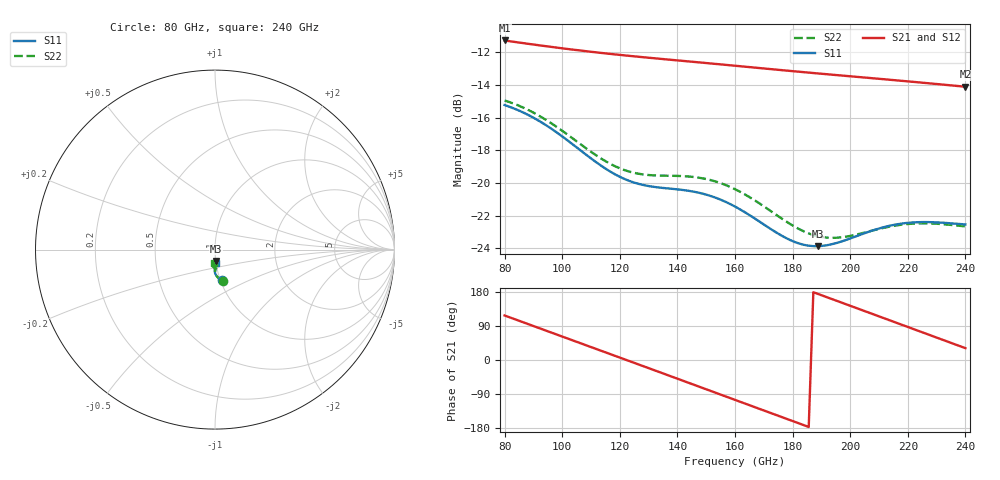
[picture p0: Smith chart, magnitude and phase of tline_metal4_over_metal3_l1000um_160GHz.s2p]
#  GHZ S DB R 50
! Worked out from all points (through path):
!   101 points, 80 GHz to 240 GHz, reference 50 ohm
!   highest |S21| = -11.28 dB at 80 GHz (marker M1); lowest = -14.1 dB at 240 GHz (marker M2)
!   group delay of S21, straight-line fit = 7.75 ps
!   lowest |S11| = -23.9 dB at 188.8 GHz (marker M3), VSWR 1.14, Z = 50.1 - j6.42 ohm
!   |S11| at or under -10 dB: start of sweep to end of sweep
!   |S22| runs from -23.4 to -15.0 dB; largest |S21 - S12| = 4.2e-14
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80  -15.23 -76.9  -11.28 117.5  -11.28 117.5  -14.95 -75.4
86.4  -15.69 -80.8  -11.44 99.7  -11.44 99.7  -15.38 -79.4
92.8  -16.29 -84.8  -11.59 81.9  -11.59 81.9  -15.97 -83.4
99.2  -17.05 -88.1  -11.74 64.1  -11.74 64.1  -16.71 -86.7
107.2  -18.12 -90.6  -11.91 41.9  -11.91 41.9  -17.74 -89.0
113.6  -18.96 -90.8  -12.04 24.1  -12.04 24.1  -18.52 -89.2
120  -19.63 -89.9  -12.16 6.4  -12.16 6.4  -19.11 -88.2
126.4  -20.06 -88.4  -12.27 -11.4  -12.27 -11.4  -19.44 -86.9
134.4  -20.30 -87.6  -12.41 -33.7  -12.41 -33.7  -19.56 -86.4
147.2  -20.59 -89.9  -12.61 -69.4  -12.61 -69.4  -19.68 -89.9
153.6  -20.93 -92.2  -12.72 -87.3  -12.72 -87.3  -19.93 -93.0
160  -21.45 -94.2  -12.82 -105.2  -12.82 -105.2  -20.38 -96.0
166.4  -22.13 -95.1  -12.93 -123.1  -12.93 -123.1  -21.02 -98.2
174.4  -23.05 -93.9  -13.06 -145.4  -13.06 -145.4  -21.97 -99.0
180.8  -23.62 -90.7  -13.17 -163.3  -13.17 -163.3  -22.69 -97.5
187.2  -23.87 -86.4  -13.27 178.8  -13.27 178.8  -23.19 -94.4
188.8  -23.88 -85.4  -13.30 174.4  -13.30 174.4  -23.27 -93.5
195.2  -23.69 -81.8  -13.40 156.5  -13.40 156.5  -23.36 -90.0
203.2  -23.20 -79.8  -13.52 134.2  -13.52 134.2  -23.12 -87.1
214.4  -22.60 -81.0  -13.69 102.9  -13.69 102.9  -22.66 -87.1
227.2  -22.40 -84.6  -13.90 67.0  -13.90 67.0  -22.48 -90.0
240  -22.54 -87.0  -14.11 31.2  -14.11 31.2  -22.67 -92.4
